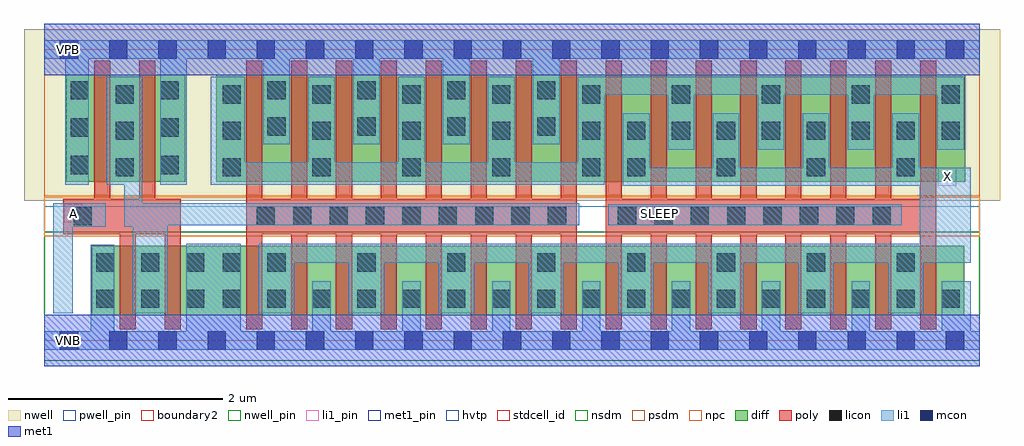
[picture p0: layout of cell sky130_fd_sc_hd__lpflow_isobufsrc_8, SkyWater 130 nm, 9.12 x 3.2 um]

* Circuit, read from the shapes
.subckt sky130_fd_sc_hd__lpflow_isobufsrc_8 A SLEEP VGND VNB VPB VPWR X
XM1 n1 A VGND VNB sky130_fd_pr__nfet_01v8 w=0.65 l=0.15 m=2
XM2 X n1 VGND VNB sky130_fd_pr__nfet_01v8 w=0.65 l=0.15 m=8
XM3 X SLEEP VGND VNB sky130_fd_pr__nfet_01v8 w=0.65 l=0.15 m=8
XM4 n1 A VPWR VPB sky130_fd_pr__pfet_01v8_hvt w=1 l=0.15 m=2
XM5 VPWR n1 n2 VPB sky130_fd_pr__pfet_01v8_hvt w=1 l=0.15 m=8
XM6 X SLEEP n2 VPB sky130_fd_pr__pfet_01v8_hvt w=1 l=0.15 m=8
.ends

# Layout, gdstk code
import gdstk
lib = gdstk.Library(unit=1e-6, precision=1e-09)
def R(c, l, rs):  # rectangles x0, y0, x1, y1
    for r in rs: c.add(gdstk.rectangle(r[:2], r[2:], *l))
def A(c, l, x, y, w, h, nx, ny, dx, dy):  # array of equal rectangles
    R(c, l, [(x+i*dx, y+j*dy, x+i*dx+w, y+j*dy+h) for i in range(nx) for j in range(ny)])
def P(c, l, *ps):  # polygons
    for p in ps: c.add(gdstk.Polygon(p, *l))
nwell_pin = (64, 16)
nwell = (64, 20)
diff = (65, 20)
poly = (66, 20)
licon = (66, 44)
li1_pin = (67, 16)
li1 = (67, 20)
mcon = (67, 44)
met1_pin = (68, 16)
met1 = (68, 20)
hvtp = (78, 44)
stdcell_id = (81, 4)
nsdm = (93, 44)
psdm = (94, 20)
npc = (95, 20)
pwell_pin = (122, 16)
boundary2 = (236, 0)

sky130_fd_sc_hd__lpflow_ = lib.new_cell('sky130_fd_sc_hd__lpflow_isobufsrc_8')
R(sky130_fd_sc_hd__lpflow_, nwell_pin, [(0.145,2.635,0.315,2.805)])
R(sky130_fd_sc_hd__lpflow_, nwell, [(-0.19,1.305,8.93,2.91)])
R(sky130_fd_sc_hd__lpflow_, diff, [(0.445,0.235,8.595,0.885), (0.205,1.485,1.315,2.485), (1.605,1.485,8.605,2.485)])
P(sky130_fd_sc_hd__lpflow_, poly, [(8.335,2.615),(8.185,2.615),(8.185,1.325),(7.915,1.325),(7.915,2.615),(7.765,2.615),(7.765,1.325),(7.495,1.325),(7.495,2.615),(7.345,2.615),(7.345,1.325),(7.075,1.325),(7.075,2.615),(6.925,2.615),(6.925,1.325),(6.655,1.325),(6.655,2.615),(6.505,2.615),(6.505,1.325),(6.235,1.325),(6.235,2.615),(6.085,2.615),(6.085,1.325),(5.815,1.325),(5.815,2.615),(5.665,2.615),(5.665,1.325),(5.395,1.325),(5.395,2.615),(5.245,2.615),(5.245,0.105),(5.395,0.105),(5.395,0.995),(5.665,0.995),(5.665,0.105),(5.815,0.105),(5.815,0.995),(6.085,0.995),(6.085,0.105),(6.235,0.105),(6.235,0.995),(6.505,0.995),(6.505,0.105),(6.655,0.105),(6.655,0.995),(6.925,0.995),(6.925,0.105),(7.075,0.105),(7.075,0.995),(7.345,0.995),(7.345,0.105),(7.495,0.105),(7.495,0.995),(7.765,0.995),(7.765,0.105),(7.915,0.105),(7.915,0.995),(8.185,0.995),(8.185,0.105),(8.335,0.105)],
  [(1.275,1.325),(1.035,1.325),(1.035,2.615),(0.885,2.615),(0.885,1.325),(0.615,1.325),(0.615,2.615),(0.465,2.615),(0.465,1.325),(0.175,1.325),(0.175,0.995),(0.705,0.995),(0.705,0.105),(0.855,0.105),(0.855,0.995),(1.125,0.995),(1.125,0.105),(1.275,0.105)],
  [(4.975,2.615),(4.825,2.615),(4.825,1.325),(4.555,1.325),(4.555,2.615),(4.405,2.615),(4.405,1.325),(4.135,1.325),(4.135,2.615),(3.985,2.615),(3.985,1.325),(3.715,1.325),(3.715,2.615),(3.565,2.615),(3.565,1.325),(3.295,1.325),(3.295,2.615),(3.145,2.615),(3.145,1.325),(2.875,1.325),(2.875,2.615),(2.725,2.615),(2.725,1.325),(2.455,1.325),(2.455,2.615),(2.305,2.615),(2.305,1.325),(2.035,1.325),(2.035,2.615),(1.885,2.615),(1.885,0.105),(2.035,0.105),(2.035,0.995),(2.305,0.995),(2.305,0.105),(2.455,0.105),(2.455,0.995),(2.725,0.995),(2.725,0.105),(2.875,0.105),(2.875,0.995),(3.145,0.995),(3.145,0.105),(3.295,0.105),(3.295,0.995),(3.565,0.995),(3.565,0.105),(3.715,0.105),(3.715,0.995),(3.985,0.995),(3.985,0.105),(4.135,0.105),(4.135,0.995),(4.405,0.995),(4.405,0.105),(4.555,0.105),(4.555,0.995),(4.825,0.995),(4.825,0.105),(4.975,0.105)])
A(sky130_fd_sc_hd__lpflow_, licon, 0.485, 0.305, 0.17, 0.17, 3, 2, 0.42, 0.34)
A(sky130_fd_sc_hd__lpflow_, licon, 1.665, 0.305, 0.17, 0.17, 17, 1, 0.42, 0)
A(sky130_fd_sc_hd__lpflow_, licon, 2.085, 0.645, 0.17, 0.17, 8, 1, 0.84, 0)
A(sky130_fd_sc_hd__lpflow_, licon, 1.985, 1.075, 0.17, 0.17, 9, 1, 0.34, 0)
A(sky130_fd_sc_hd__lpflow_, licon, 5.36, 1.075, 0.17, 0.17, 8, 1, 0.34, 0)
A(sky130_fd_sc_hd__lpflow_, licon, 0.665, 1.535, 0.17, 0.17, 1, 3, 0, 0.34)
A(sky130_fd_sc_hd__lpflow_, licon, 1.665, 1.535, 0.17, 0.17, 5, 2, 0.84, 0.34)
A(sky130_fd_sc_hd__lpflow_, licon, 5.445, 1.535, 0.17, 0.17, 4, 1, 0.84, 0)
A(sky130_fd_sc_hd__lpflow_, licon, 0.245, 1.555, 0.17, 0.17, 1, 3, 0, 0.35)
A(sky130_fd_sc_hd__lpflow_, licon, 1.085, 1.555, 0.17, 0.17, 1, 3, 0, 0.35)
A(sky130_fd_sc_hd__lpflow_, licon, 5.445, 1.875, 0.17, 0.17, 8, 1, 0.42, 0)
A(sky130_fd_sc_hd__lpflow_, licon, 2.085, 1.915, 0.17, 0.17, 4, 2, 0.84, 0.34)
A(sky130_fd_sc_hd__lpflow_, licon, 1.665, 2.215, 0.17, 0.17, 9, 1, 0.84, 0)
R(sky130_fd_sc_hd__lpflow_, licon, [(1.665,0.645,1.835,0.815), (0.275,1.075,0.445,1.245)])
R(sky130_fd_sc_hd__lpflow_, li1_pin, [(0.185,1.105,0.355,1.275), (5.665,1.105,5.835,1.275), (8.35,1.445,8.52,1.615)])
R(sky130_fd_sc_hd__lpflow_, li1, [(5.27,1.075,8.01,1.275)])
P(sky130_fd_sc_hd__lpflow_, li1, [(8.74,0.085),(8.655,0.085),(8.655,0.555),(8.385,0.555),(8.385,0.085),(7.715,0.085),(7.715,0.555),(7.545,0.555),(7.545,0.085),(6.875,0.085),(6.875,0.555),(6.705,0.555),(6.705,0.085),(6.035,0.085),(6.035,0.555),(5.865,0.555),(5.865,0.085),(5.195,0.085),(5.195,0.555),(5.025,0.555),(5.025,0.085),(4.355,0.085),(4.355,0.555),(4.185,0.555),(4.185,0.085),(3.515,0.085),(3.515,0.555),(3.345,0.555),(3.345,0.085),(2.675,0.085),(2.675,0.555),(2.505,0.555),(2.505,0.085),(1.835,0.085),(1.835,0.905),(1.325,0.905),(1.325,0.085),(0.655,0.085),(0.655,0.895),(0.435,0.895),(0.435,0.085),(0,0.085),(0,-0.085),(8.74,-0.085)],
  [(8.595,2.465),(4.985,2.465),(4.985,1.665),(4.395,1.665),(4.395,2.465),(4.145,2.465),(4.145,1.665),(3.555,1.665),(3.555,2.465),(3.305,2.465),(3.305,1.665),(2.715,1.665),(2.715,2.465),(2.465,2.465),(2.465,1.665),(1.875,1.665),(1.875,2.465),(1.555,2.465),(1.555,1.455),(5.235,1.455),(5.235,2.295),(5.825,2.295),(5.825,1.785),(6.075,1.785),(6.075,2.295),(6.665,2.295),(6.665,1.785),(6.915,1.785),(6.915,2.295),(7.505,2.295),(7.505,1.785),(7.755,1.785),(7.755,2.295),(8.345,2.295),(8.345,1.785),(8.595,1.785)],
  [(0.575,1.285),(0.085,1.285),(0.085,0.255),(0.265,0.255),(0.265,1.065),(0.575,1.065)],
  [(5,1.285),(0.915,1.285),(0.915,2.465),(0.585,2.465),(0.585,1.455),(0.745,1.455),(0.745,1.065),(0.825,1.065),(0.825,0.255),(1.155,0.255),(1.155,1.075),(5,1.075)],
  [(8.655,1.615),(8.175,1.615),(8.175,2.125),(7.925,2.125),(7.925,1.615),(7.335,1.615),(7.335,2.125),(7.085,2.125),(7.085,1.615),(6.495,1.615),(6.495,2.125),(6.245,2.125),(6.245,1.615),(5.655,1.615),(5.655,2.125),(5.405,2.125),(5.405,1.445),(8.18,1.445),(8.18,0.905),(2.005,0.905),(2.005,0.255),(2.335,0.255),(2.335,0.725),(2.845,0.725),(2.845,0.255),(3.175,0.255),(3.175,0.725),(3.685,0.725),(3.685,0.255),(4.015,0.255),(4.015,0.725),(4.525,0.725),(4.525,0.255),(4.855,0.255),(4.855,0.725),(5.365,0.725),(5.365,0.255),(5.695,0.255),(5.695,0.725),(6.205,0.725),(6.205,0.255),(6.535,0.255),(6.535,0.725),(7.045,0.725),(7.045,0.255),(7.375,0.255),(7.375,0.725),(7.885,0.725),(7.885,0.255),(8.215,0.255),(8.215,0.725),(8.655,0.725)],
  [(8.74,2.805),(0,2.805),(0,2.635),(0.195,2.635),(0.195,1.455),(0.415,1.455),(0.415,2.635),(1.085,2.635),(1.085,1.455),(1.33,1.455),(1.33,2.635),(2.045,2.635),(2.045,1.835),(2.295,1.835),(2.295,2.635),(2.885,2.635),(2.885,1.835),(3.135,1.835),(3.135,2.635),(3.725,2.635),(3.725,1.835),(3.975,1.835),(3.975,2.635),(4.565,2.635),(4.565,1.835),(4.815,1.835),(4.815,2.635),(8.74,2.635)])
A(sky130_fd_sc_hd__lpflow_, mcon, 0.145, -0.085, 0.17, 0.17, 19, 2, 0.46, 2.72)
R(sky130_fd_sc_hd__lpflow_, met1_pin, [(0.145,-0.085,0.315,0.085), (0.145,2.635,0.315,2.805)])
R(sky130_fd_sc_hd__lpflow_, hvtp, [(0,1.25,8.74,2.72)])
R(sky130_fd_sc_hd__lpflow_, stdcell_id, [(0,0,8.74,2.72)])
R(sky130_fd_sc_hd__lpflow_, nsdm, [(0,-0.19,8.74,1.015)])
R(sky130_fd_sc_hd__lpflow_, psdm, [(0,1.355,8.74,2.91)])
R(sky130_fd_sc_hd__lpflow_, npc, [(0,0.975,8.74,1.345)])
R(sky130_fd_sc_hd__lpflow_, pwell_pin, [(0.145,-0.085,0.315,0.085)])
R(sky130_fd_sc_hd__lpflow_, boundary2, [(0,0,8.74,2.72)])
sky130_fd_sc_hd__lpflow_.add(gdstk.FlexPath([(0,2.72),(8.74,2.72)], 0.48, ends="flush", simple_path=True, layer=68, datatype=20))  # met1
sky130_fd_sc_hd__lpflow_.add(gdstk.FlexPath([(0,0),(8.74,0)], 0.48, ends="flush", simple_path=True, layer=68, datatype=20))  # met1
sky130_fd_sc_hd__lpflow_.add(gdstk.Label('A', (0.27,1.19), layer=67, texttype=5))
sky130_fd_sc_hd__lpflow_.add(gdstk.Label('X', (8.435,1.53), layer=67, texttype=5))
sky130_fd_sc_hd__lpflow_.add(gdstk.Label('SLEEP', (5.75,1.19), layer=67, texttype=5))
sky130_fd_sc_hd__lpflow_.add(gdstk.Label('VPB', (0.23,2.72), layer=64, texttype=5))
sky130_fd_sc_hd__lpflow_.add(gdstk.Label('VNB', (0.23,0), layer=64, texttype=59))
sky130_fd_sc_hd__lpflow_.add(gdstk.Label('VGND', (0.23,0), layer=68, texttype=5))
sky130_fd_sc_hd__lpflow_.add(gdstk.Label('VPWR', (0.23,2.72), layer=68, texttype=5))
sky130_fd_sc_hd__lpflow_.add(gdstk.Label('lpflow_isobufsrc_8', (0,0), layer=83, texttype=44))

lib.write_gds('sky130_fd_sc_hd__lpflow_isobufsrc_8.gds')
